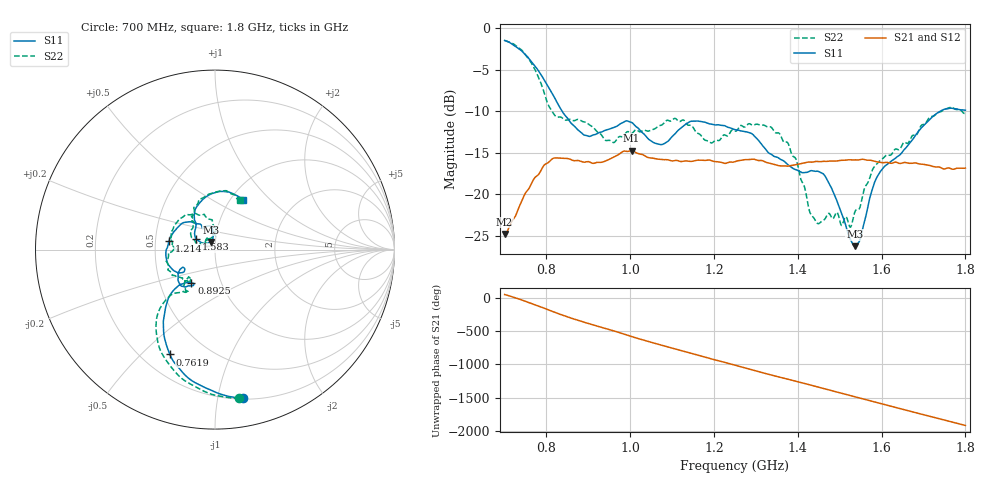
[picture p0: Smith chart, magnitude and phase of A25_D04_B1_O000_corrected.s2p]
! Created with skrf 1.9.0 (http://scikit-rf.org).
# Hz S RI R 50.0
!freq ReS11 ImS11 ReS21 ImS21 ReS12 ImS12 ReS22 ImS22
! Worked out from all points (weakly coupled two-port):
!   1601 points, 700 MHz to 1.8 GHz, reference 50 ohm
!   highest |S21| = -14.73 dB at 1.003 GHz (marker M1); lowest = -24.7 dB at 700 MHz (marker M2)
!   lowest |S11| = -26.2 dB at 1.536 GHz (marker M3), VSWR 1.10, Z = 47.6 + j4.13 ohm
!   |S11| at or under -10 dB: 837.2 MHz to 1.741 GHz (903.4 MHz wide, 70.1 % of centre)
!   |S22| runs from -23.9 to -1.5 dB; largest |S21 - S12| = 0.0033
!   S11 on the Smith chart (normalised r, x): 700 MHz: 0.21, -1.18; 761.9 MHz: 0.31, -0.61; 892.5 MHz: 0.72, -0.28; 1.214 GHz: 0.59, +0.06; 1.583 GHz: 0.81, +0.09; 1.8 GHz: 1.14, +0.71
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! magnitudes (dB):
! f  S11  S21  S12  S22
! 700 MHz  -1.5  -24.7  -24.5  -1.5
! 761.9 MHz  -3.9  -18.9  -18.9  -4.1
! 819.6 MHz  -8.4  -15.6  -15.7  -10.5
! 883.6 MHz  -12.6  -16.0  -15.9  -11.2
! 892.5 MHz  -12.9  -16.1  -16.1  -11.3
! 957.8 MHz  -12.0  -15.6  -15.6  -13.7
! 1.003 GHz  -11.4  -14.7  -14.8  -12.7
! 1.067 GHz  -14.0  -15.8  -15.7  -11.8
! 1.144 GHz  -11.2  -16.0  -16.0  -11.7
! 1.214 GHz  -11.7  -16.1  -16.1  -13.4
! 1.25 GHz  -12.2  -16.1  -16.0  -12.4
! 1.356 GHz  -15.7  -16.6  -16.5  -12.7
! 1.396 GHz  -17.0  -16.4  -16.4  -15.8
! 1.434 GHz  -17.1  -16.1  -16.1  -22.5
! 1.469 GHz  -18.2  -16.0  -16.0  -22.5
! 1.525 GHz  -25.3  -15.8  -15.8  -23.9
! 1.536 GHz  -26.2  -15.8  -15.9  -22.1
! 1.55 GHz  -25.2  -15.8  -15.8  -21.3
! 1.583 GHz  -18.5  -16.0  -16.0  -16.6
! 1.617 GHz  -16.2  -16.2  -16.2  -15.3
! 1.732 GHz  -10.3  -16.7  -16.7  -10.3
! 1.8 GHz  -9.9  -16.8  -16.8  -10.2
